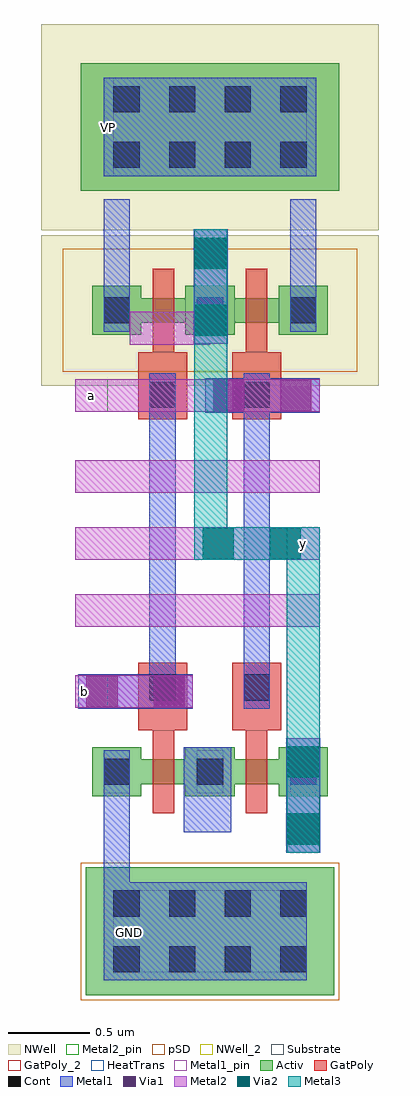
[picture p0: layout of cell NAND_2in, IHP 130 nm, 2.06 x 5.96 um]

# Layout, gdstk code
from math import pi, radians
import gdstk
lib = gdstk.Library(unit=1e-6, precision=1e-09)
def R(c, l, rs):  # rectangles x0, y0, x1, y1
    for r in rs: c.add(gdstk.rectangle(r[:2], r[2:], *l))
def A(c, l, x, y, w, h, nx, ny, dx, dy):  # array of equal rectangles
    R(c, l, [(x+i*dx, y+j*dy, x+i*dx+w, y+j*dy+h) for i in range(nx) for j in range(ny)])
Activ = (1, 0)
GatPoly = (5, 0)
GatPoly_2 = (5, 2)
Cont = (6, 0)
Metal1 = (8, 0)
Metal1_pin = (8, 2)
Metal2 = (10, 0)
Metal2_pin = (10, 2)
pSD = (14, 0)
Via1 = (19, 0)
Via2 = (29, 0)
Metal3 = (30, 0)
NWell = (31, 0)
NWell_2 = (31, 2)
Substrate = (40, 0)
HeatTrans = (51, 0)

nmos = lib.new_cell('nmos')
R(nmos, Activ, [(0,0,0.3,0.3), (0.57,0,0.87,0.3), (0,0.075,0.87,0.225)])
R(nmos, GatPoly, [(0.37,-0.105,0.5,0.405)])
R(nmos, GatPoly_2, [(0.37,-0.105,0.5,0.405)])
R(nmos, Cont, [(0.07,0.07,0.23,0.23), (0.64,0.07,0.8,0.23)])
R(nmos, Metal1, [(0.07,0.02,0.23,0.28), (0.64,0.02,0.8,0.28)])
R(nmos, Metal1_pin, [(0.07,0.02,0.23,0.28), (0.64,0.02,0.8,0.28)])
R(nmos, HeatTrans, [(0.37,-0.105,0.5,0.405)])
nmos.add(gdstk.Label('nmos', (0.435,0.15), layer=63, texttype=0))
nmos.add(gdstk.Label('nmos', (0.435,0.15), layer=51, texttype=0))

ptap1 = lib.new_cell('ptap1')
R(ptap1, Activ, [(0,0,1.52,0.78)])
A(ptap1, Cont, 0.17, 0.14, 0.16, 0.16, 4, 2, 0.34, 0.34)
R(ptap1, Metal1, [(0.17,0.09,1.35,0.69), (0.17,0.14,1.35,0.64)])
R(ptap1, Metal1_pin, [(0.17,0.14,1.35,0.64)])
R(ptap1, pSD, [(-0.03,-0.03,1.55,0.81)])
R(ptap1, Substrate, [(0,0,1.52,0.78)])
ptap1.add(gdstk.Label('sub!', (0.76,0.01), layer=63, texttype=0))
ptap1.add(gdstk.Label('sub!', (0.76,0.01), layer=40, texttype=0))

via = lib.new_cell('Via')
R(via, GatPoly, [(-0.15,-0.15,0.15,0.15)])
R(via, Cont, [(-0.08,-0.08,0.08,0.08)])
R(via, Metal1, [(-0.13,-0.08,0.13,0.08)])

via_2 = lib.new_cell('Via$2')
R(via_2, Metal1, [(-0.105,-0.35,0.105,0.35)])
R(via_2, Metal2, [(-0.1,-0.35,0.1,0.35)])
R(via_2, Via1, [(-0.095,-0.3,0.095,-0.11), (-0.095,0.11,0.095,0.3)])

via_4 = lib.new_cell('Via$4')
R(via_4, Metal2, [(-0.1,-0.35,0.1,0.35)])
R(via_4, Via2, [(-0.095,-0.3,0.095,-0.11), (-0.095,0.11,0.095,0.3)])
R(via_4, Metal3, [(-0.1,-0.35,0.1,0.35)])

via_7 = lib.new_cell('Via$7')
R(via_7, Metal2, [(-0.35,-0.1,0.35,0.1)])
R(via_7, Via2, [(-0.3,-0.095,-0.11,0.095), (0.11,-0.095,0.3,0.095)])
R(via_7, Metal3, [(-0.35,-0.1,0.35,0.1)])

pmos = lib.new_cell('pmos')
R(pmos, Activ, [(0,0,0.3,0.3), (0.57,0,0.87,0.3), (0,0.075,0.87,0.225)])
R(pmos, GatPoly, [(0.37,-0.105,0.5,0.405), (0.37,-0.105,0.5,0.405)])
R(pmos, Cont, [(0.07,0.07,0.23,0.23), (0.64,0.07,0.8,0.23)])
R(pmos, Metal1, [(0.07,0.02,0.23,0.28), (0.07,0.02,0.23,0.28), (0.64,0.02,0.8,0.28), (0.64,0.02,0.8,0.28)])
R(pmos, pSD, [(-0.18,-0.225,1.05,0.525)])
R(pmos, NWell, [(-0.31,-0.31,1.18,0.61)])
R(pmos, Substrate, [(0.57,0,0.87,0.3)])
R(pmos, HeatTrans, [(0.37,-0.105,0.5,0.405)])
pmos.add(gdstk.Label('pmos', (0.435,0.15), layer=63, texttype=0))
pmos.add(gdstk.Label('pmos', (0.435,0.15), layer=51, texttype=0))

ntap1 = lib.new_cell('ntap1')
R(ntap1, Activ, [(0,0,1.58,0.78)])
A(ntap1, Cont, 0.2, 0.14, 0.16, 0.16, 4, 2, 0.34, 0.34)
R(ntap1, Metal1, [(0.2,0.09,1.38,0.69)])
R(ntap1, Metal1_pin, [(0.2,0.09,1.38,0.69), (0.2,0.14,1.38,0.64)])
R(ntap1, NWell, [(-0.24,-0.24,1.82,1.02), (0,0,1.58,0.78)])
R(ntap1, NWell_2, [(0,0,1.58,0.78)])
ntap1.add(gdstk.Label('well', (0.79,0.01), layer=63, texttype=0))
ntap1.add(gdstk.Label('well', (0.79,0.01), layer=31, texttype=0))

nand_2in = lib.new_cell('NAND_2in')
R(nand_2in, GatPoly, [(6.865,7.03,7.165,7.14), (7.44,7.03,7.74,7.14), (6.865,9.23,7.165,9.34), (7.44,9.23,7.74,9.34)])
R(nand_2in, Metal1, [(7.145,6.405,7.435,6.925)])
R(nand_2in, Metal1_pin, [(6.715,5.695,6.915,5.895), (6.715,10.615,6.915,10.815)])
R(nand_2in, Metal2, [(6.48,7.165,7.2,7.365)])
R(nand_2in, Metal2_pin, [(6.48,7.165,6.68,7.365), (7.775,8.07,7.975,8.27), (6.48,8.975,6.68,9.175)])
nand_2in.add(gdstk.FlexPath([(6.735,6.1),(6.735,5.5)], 0.16, ends="flush", simple_path=True, layer=8, datatype=0))  # Metal1
nand_2in.add(gdstk.FlexPath([(7.875,6.63),(7.875,6.63)], 0.16, ends="flush", simple_path=True, layer=8, datatype=0))  # Metal1
nand_2in.add(gdstk.FlexPath([(6.735,6.645),(6.735,6.1)], 0.16, ends="flush", simple_path=True, layer=8, datatype=0))  # Metal1
nand_2in.add(gdstk.FlexPath([(7.875,10.415),(7.875,11.015)], 0.16, ends="flush", simple_path=True, layer=8, datatype=0))  # Metal1
nand_2in.add(gdstk.FlexPath([(6.735,10.415),(6.735,11.015)], 0.16, ends="flush", simple_path=True, layer=8, datatype=0))  # Metal1
nand_2in.add(gdstk.FlexPath([(7.015,8.815),(7.015,8.815)], 0.16, ends="flush", simple_path=True, layer=8, datatype=0))  # Metal1
nand_2in.add(gdstk.FlexPath([(7.59,8.6),(7.59,8.95)], 0.16, ends="flush", simple_path=True, layer=8, datatype=0))  # Metal1
nand_2in.add(gdstk.FlexPath([(7.015,8.95),(7.015,8.73)], 0.16, ends="flush", simple_path=True, layer=8, datatype=0))  # Metal1
nand_2in.add(gdstk.FlexPath([(6.735,9.595),(6.735,10.275)], 0.16, ends="flush", simple_path=True, layer=8, datatype=0))  # Metal1
nand_2in.add(gdstk.FlexPath([(7.875,9.595),(7.875,10.275)], 0.16, ends="flush", simple_path=True, layer=8, datatype=0))  # Metal1
nand_2in.add(gdstk.FlexPath([(7.015,7.42),(7.015,8.73)], 0.16, ends="flush", simple_path=True, layer=8, datatype=0))  # Metal1
nand_2in.add(gdstk.FlexPath([(7.59,7.42),(7.59,8.6)], 0.16, ends="flush", simple_path=True, layer=8, datatype=0))  # Metal1
nand_2in.add(gdstk.FlexPath([(7.875,6.63),(7.875,6.63)], 0.2, ends="flush", simple_path=True, layer=10, datatype=0))  # Metal2
nand_2in.add(gdstk.FlexPath([(6.48,7.76),(7.975,7.76)], 0.2, ends="flush", simple_path=True, layer=10, datatype=0))  # Metal2
nand_2in.add(gdstk.FlexPath([(6.48,8.17),(7.975,8.17)], 0.2, ends="flush", simple_path=True, layer=10, datatype=0))  # Metal2
nand_2in.add(gdstk.FlexPath([(6.48,8.58),(7.975,8.58)], 0.2, ends="flush", simple_path=True, layer=10, datatype=0))  # Metal2
nand_2in.add(gdstk.FlexPath([(6.48,9.075),(7.975,9.075)], 0.2, ends="flush", simple_path=True, layer=10, datatype=0))  # Metal2
nand_2in.add(gdstk.FlexPath([(7.305,9.485),(6.815,9.485)], 0.2, ends="flush", simple_path=True, layer=10, datatype=0))  # Metal2
nand_2in.add(gdstk.FlexPath([(7.875,6.855),(7.875,8.27)], 0.2, ends="flush", simple_path=True, layer=30, datatype=0))  # Metal3
nand_2in.add(gdstk.FlexPath([(7.31,9.535),(7.31,8.59)], 0.2, ends="flush", simple_path=True, layer=30, datatype=0))  # Metal3
nand_2in.add(gdstk.FlexPath([(7.31,8.59),(7.31,8.07)], 0.2, ends="flush", simple_path=True, layer=30, datatype=0))  # Metal3
nand_2in.add(gdstk.FlexPath([(7.02,9.34),(7.02,9.34)], 0.16, ends="flush", simple_path=True, layer=5, datatype=0))  # GatPoly
nand_2in.add(gdstk.Reference(nmos, (6.585,6.625)))
nand_2in.add(gdstk.Reference(nmos, (7.155,6.625)))
nand_2in.add(gdstk.Reference(ptap1, (6.545,5.41)))
nand_2in.add(gdstk.Reference(via, (7.59,7.29), rotation=3*pi/2))
nand_2in.add(gdstk.Reference(via, (7.015,7.29), rotation=3*pi/2))
nand_2in.add(gdstk.Reference(via_2, (7.875,6.63), rotation=pi))
nand_2in.add(gdstk.Reference(via_4, (7.875,6.63), rotation=pi))
nand_2in.add(gdstk.Reference(via_7, (7.56,8.17)))
nand_2in.add(gdstk.Reference(via_2, (6.85,7.265), rotation=3*pi/2))
nand_2in.add(gdstk.Reference(via_4, (7.31,9.74), rotation=pi))
nand_2in.add(gdstk.Reference(via_2, (7.31,9.74), rotation=pi))
nand_2in.add(gdstk.Reference(via_2, (7.625,9.075), rotation=3*pi/2))
nand_2in.add(gdstk.Reference(via, (7.59,9.08), rotation=pi/2))
nand_2in.add(gdstk.Reference(pmos, (7.155,9.445)))
nand_2in.add(gdstk.Reference(via, (7.015,9.08), rotation=pi/2))
nand_2in.add(gdstk.Reference(ntap1, (6.515,10.325)))
nand_2in.add(gdstk.Reference(pmos, (6.585,9.445)))
nand_2in.add(gdstk.Label('y', (7.875,8.17), layer=10, texttype=25))
nand_2in.add(gdstk.Label('b', (6.535,7.265), layer=10, texttype=25))
nand_2in.add(gdstk.Label('a', (6.58,9.075), layer=10, texttype=25))
nand_2in.add(gdstk.Label('GND', (6.815,5.795), layer=8, texttype=25))
nand_2in.add(gdstk.Label('VP', (6.685,10.715), layer=8, texttype=25))

lib.write_gds('NAND_2in.gds')
